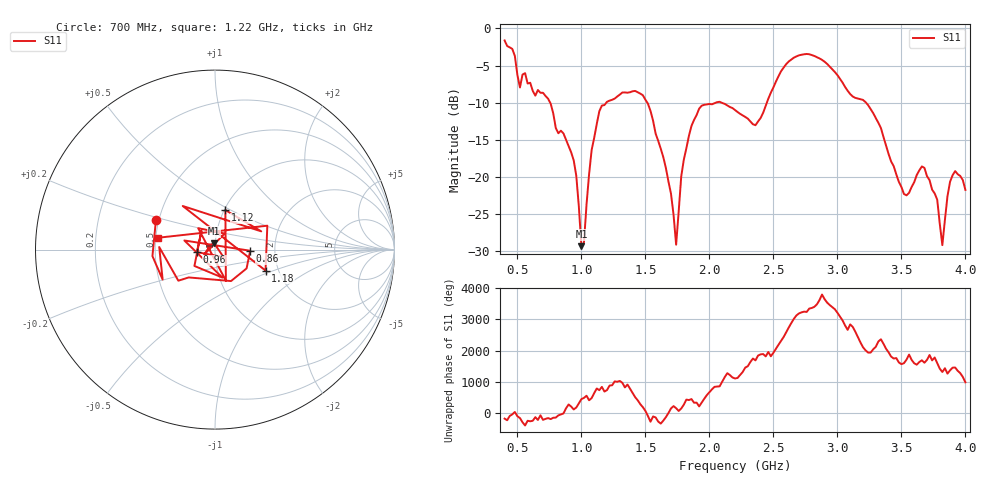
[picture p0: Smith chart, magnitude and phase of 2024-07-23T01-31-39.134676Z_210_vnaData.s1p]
!Created with skrf (http://scikit-rf.org).
# Hz S RI R 50.0
!freq ReS11 ImS11
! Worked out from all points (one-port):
!   181 points, 400 MHz to 4 GHz, reference 50 ohm
!   lowest |S11| = -29.3 dB at 1 GHz (marker M1), VSWR 1.07, Z = 49.5 + j3.37 ohm
!   |S11| at or under -10 dB: 755.9 MHz to 1.195 GHz (438.7 MHz wide, 45 % of centre); 1.515 GHz to 2.051 GHz (536.4 MHz wide, 30.1 % of centre); 3.224 GHz to end of sweep (the widest 3 of 4)
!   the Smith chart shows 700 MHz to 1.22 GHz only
!   S11 on the Smith chart (normalised r, x): 700 MHz: 0.48, +0.19; 860 MHz: 1.49, -0.02; 960 MHz: 0.82, -0.02; 1.12 GHz: 1.01, +0.47; 1.18 GHz: 1.71, -0.44; 1.22 GHz: 0.51, +0.08
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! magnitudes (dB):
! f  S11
! 400 MHz  -1.6
! 520 MHz  -7.9
! 700 MHz  -8.7
! 860 MHz  -14.1
! 960 MHz  -19.8
! 1 GHz  -29.3
! 1.02 GHz  -28.8
! 1.12 GHz  -12.9
! 1.18 GHz  -10.3
! 1.22 GHz  -9.7
! 1.3 GHz  -8.9
! 1.52 GHz  -10.1
! 1.66 GHz  -18.8
! 1.74 GHz  -29.1
! 1.76 GHz  -24.7
! 1.8 GHz  -17.7
! 1.92 GHz  -10.8
! 2.2 GHz  -11.0
! 2.36 GHz  -13.0
! 2.66 GHz  -3.9
! 3.1 GHz  -8.8
! 3.28 GHz  -11.4
! 3.56 GHz  -22.1
! 3.68 GHz  -18.8
! 3.78 GHz  -23.1
! 3.82 GHz  -29.2
! 3.9 GHz  -19.8
! 4 GHz  -21.7
